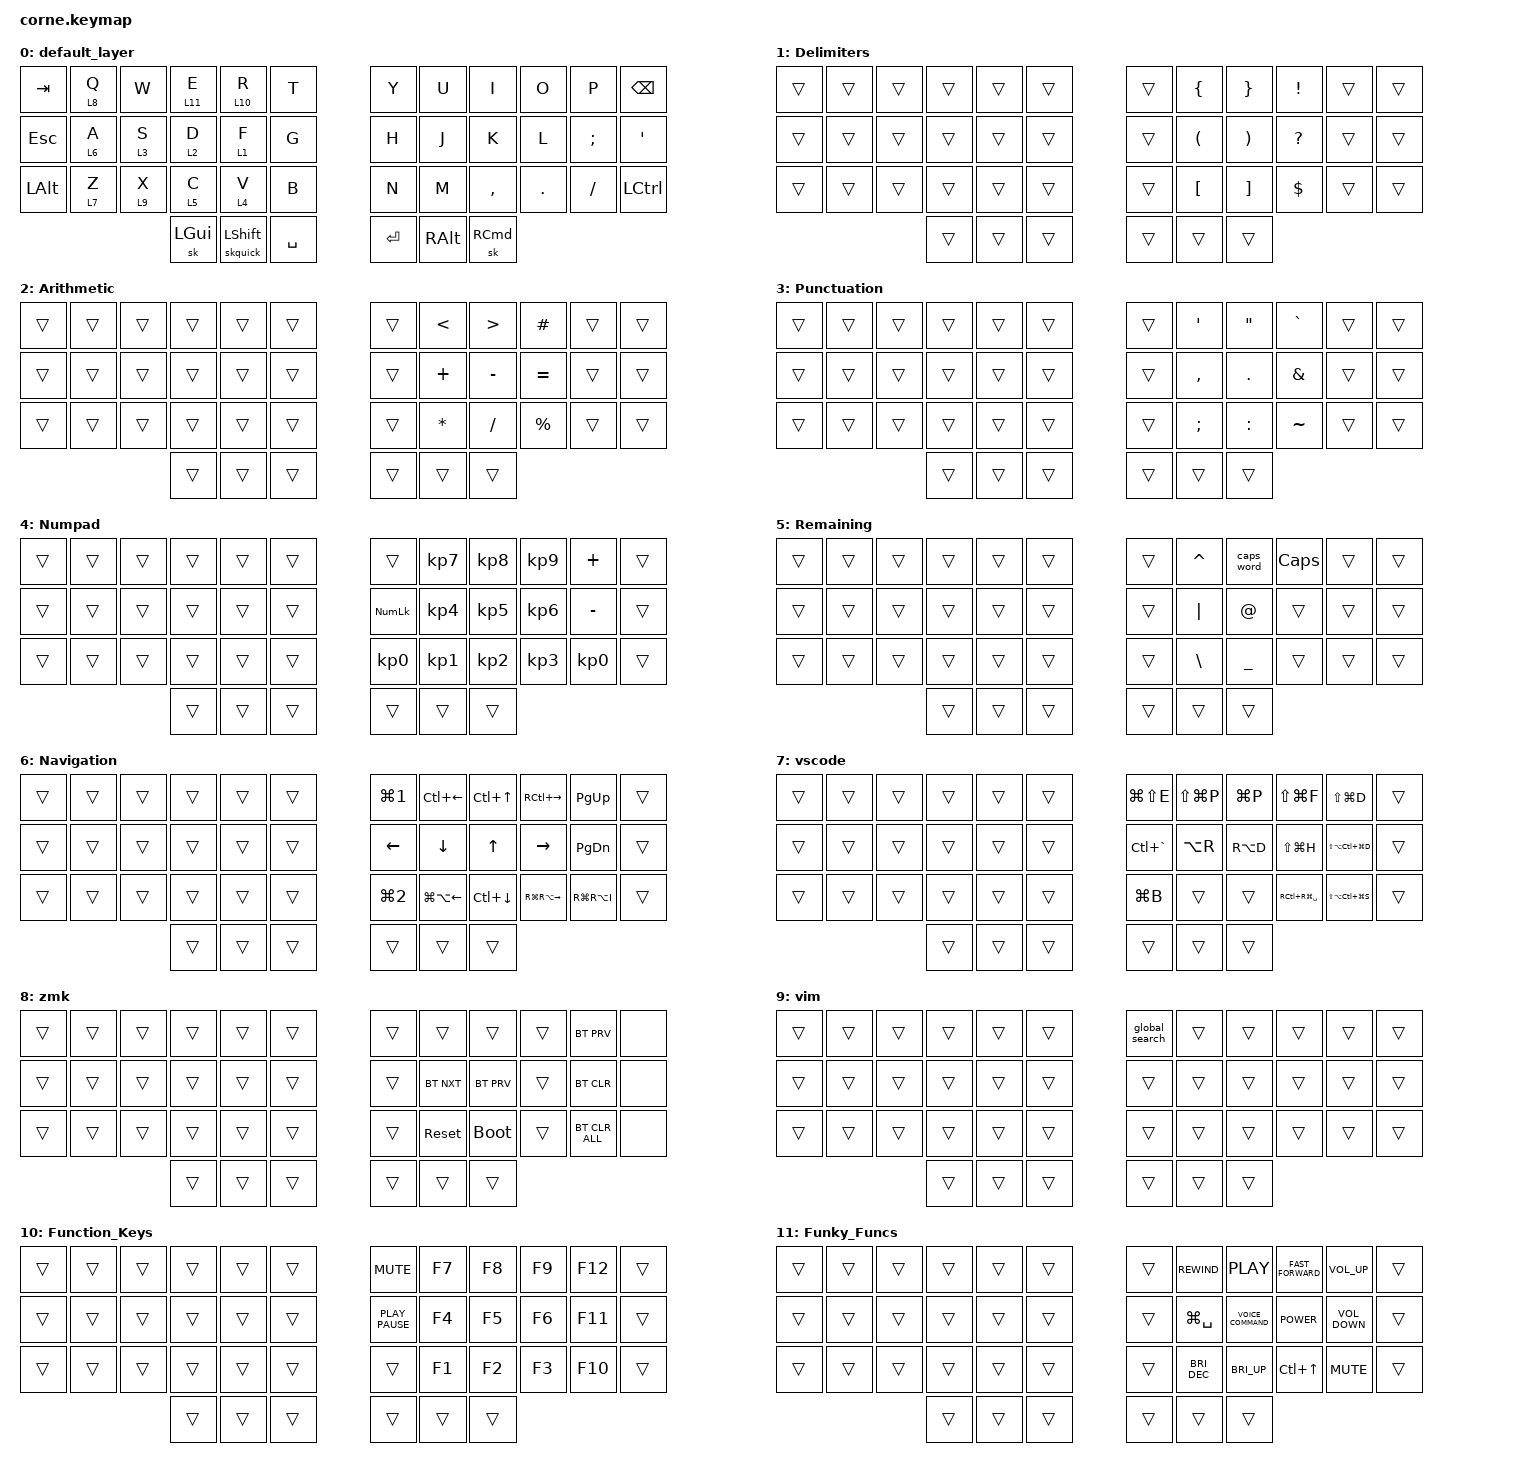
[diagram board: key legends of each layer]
/*
 * Copyright (c) 2020 The ZMK Contributors
 *
 * SPDX-License-Identifier: MIT
 */

#include <behaviors.dtsi>
#include <dt-bindings/zmk/bt.h>
#include <dt-bindings/zmk/keys.h>

/ {
    combos { compatible = "zmk,combos"; };

    behaviors {
        hml: hml {
            compatible = "zmk,behavior-hold-tap";
            label = "HML";
            bindings = <&mo>, <&sl>;

            #binding-cells = <2>;
            flavor = "balanced";
            tapping-term-ms = <50>;
            retro-tap;
        };

        skquick: skquick {
            compatible = "zmk,behavior-sticky-key";
            label = "SKQUICK";
            bindings = <&sk>;
            #binding-cells = <1>;
            release-after-ms = <2000>;
            quick-release;
            ignore-modifiers;
        };
    };

    macros {
        global_search: global_search {
            compatible = "zmk,behavior-macro";
            #binding-cells = <0>;
            bindings = <&none &kp COLON &kp PRCNT &kp S &kp FSLH>;
            label = "GLOBAL_SEARCH";
        };
    };

    keymap {
        compatible = "zmk,keymap";

        default_layer {
            // -----------------------------------------------------------------------------------------
            // |  TAB |  Q  |  W  |  E  |  R  |  T  |   |  Y  |  U   |  I  |  O  |  P  | BKSP |
            // | ESC |  A  |  S  |  D  |  F  |  G  |   |  H  |  J   |  K  |  L  |  ;  |  '   |
            // | SHFT |  Z  |  X  |  C  |  V  |  B  |   |  N  |  M   |  ,  |  .  |  /  | SHFT  |
            //                    | GUI | LWR | SPC |   | ENT | RSE  | ALT |

            bindings = <
&kp TAB       &lt 8 Q  &kp W    &lt 11 E      &lt 10 R             &kp T        &kp Y    &kp U     &kp I      &kp O       &kp P      &kp BACKSPACE
&kp ESC       &lt 6 A  &lt 3 S  &lt 2 D       &lt 1 F              &kp G        &kp H    &kp J     &kp K      &kp L       &kp SEMI   &kp APOS
&kp LEFT_ALT  &lt 7 Z  &lt 9 X  &lt 5 C       &lt 4 V              &kp B        &kp N    &kp M     &kp COMMA  &kp PERIOD  &kp SLASH  &kp LEFT_CONTROL
                                &sk LEFT_GUI  &skquick LEFT_SHIFT  &kp SPACE    &kp RET  &kp RALT  &sk RCMD
            >;
        };

        Delimiters {
            bindings = <
&trans  &trans  &trans  &trans  &trans  &trans    &trans  &kp LEFT_BRACE        &kp RIGHT_BRACE        &kp EXCLAMATION  &trans  &trans
&trans  &trans  &trans  &trans  &trans  &trans    &trans  &kp LEFT_PARENTHESIS  &kp RIGHT_PARENTHESIS  &kp QUESTION     &trans  &trans
&trans  &trans  &trans  &trans  &trans  &trans    &trans  &kp LEFT_BRACKET      &kp RIGHT_BRACKET      &kp DOLLAR       &trans  &trans
                        &trans  &trans  &trans    &trans  &trans                &trans
            >;
        };

        Arithmetic {
            bindings = <
&trans  &trans  &trans  &trans  &trans  &trans    &trans  &kp LESS_THAN  &kp GREATER_THAN  &kp POUND    &trans  &trans
&trans  &trans  &trans  &trans  &trans  &trans    &trans  &kp PLUS       &kp MINUS         &kp EQUAL    &trans  &trans
&trans  &trans  &trans  &trans  &trans  &trans    &trans  &kp ASTERISK   &kp FSLH          &kp PERCENT  &trans  &trans
                        &trans  &trans  &trans    &trans  &trans         &trans
            >;
        };

        Punctuation {
            bindings = <
&trans  &trans  &trans  &trans  &trans  &trans    &trans  &kp SQT    &kp DOUBLE_QUOTES  &kp GRAVE      &trans  &trans
&trans  &trans  &trans  &trans  &trans  &trans    &trans  &kp COMMA  &kp DOT            &kp AMPERSAND  &trans  &trans
&trans  &trans  &trans  &trans  &trans  &trans    &trans  &kp SEMI   &kp COLON          &kp TILDE      &trans  &trans
                        &trans  &trans  &trans    &trans  &trans     &trans
            >;
        };

        Numpad {
            bindings = <
&trans  &trans  &trans  &trans  &trans  &trans    &trans           &kp KP_NUMBER_7  &kp KP_NUMBER_8  &kp KP_NUMBER_9  &kp PLUS         &trans
&trans  &trans  &trans  &trans  &trans  &trans    &kp KP_NUMLOCK   &kp KP_NUMBER_4  &kp KP_NUMBER_5  &kp KP_NUMBER_6  &kp MINUS        &trans
&trans  &trans  &trans  &trans  &trans  &trans    &kp KP_NUMBER_0  &kp KP_NUMBER_1  &kp KP_NUMBER_2  &kp KP_NUMBER_3  &kp KP_NUMBER_0  &trans
                        &trans  &trans  &trans    &trans           &trans           &trans
            >;
        };

        Remaining {
            bindings = <
&trans  &trans  &trans  &trans  &trans  &trans    &trans  &kp CARET      &caps_word      &kp CAPS  &trans  &trans
&trans  &trans  &trans  &trans  &trans  &trans    &trans  &kp PIPE       &kp AT_SIGN     &trans    &trans  &trans
&trans  &trans  &trans  &trans  &trans  &trans    &trans  &kp BACKSLASH  &kp UNDERSCORE  &trans    &trans  &trans
                        &trans  &trans  &trans    &trans  &trans         &trans
            >;
        };

        Navigation {
            bindings = <
&trans  &trans  &trans  &trans  &trans  &trans    &kp LG(NUMBER_1)  &kp LC(LEFT_ARROW)      &kp LC(UP_ARROW)  &kp RC(RIGHT)      &kp PAGE_UP    &trans
&trans  &trans  &trans  &trans  &trans  &trans    &kp LEFT          &kp DOWN                &kp UP            &kp RIGHT          &kp PAGE_DOWN  &trans
&trans  &trans  &trans  &trans  &trans  &trans    &kp LG(NUMBER_2)  &kp LG(LA(LEFT_ARROW))  &kp LC(DOWN)      &kp RG(RA(RIGHT))  &kp RG(RA(I))  &trans
                        &trans  &trans  &trans    &trans            &trans                  &trans
            >;
        };

        vscode {
            bindings = <
&trans  &trans  &trans  &trans  &trans  &trans    &kp LG(LS(E))  &kp LS(LG(P))  &kp LG(P)  &kp LS(LG(F))      &kp LS(LG(D))          &trans
&trans  &trans  &trans  &trans  &trans  &trans    &kp LC(GRAVE)  &kp LA(R)      &kp RA(D)  &kp LS(LG(H))      &kp LS(LA(LC(LG(D))))  &trans
&trans  &trans  &trans  &trans  &trans  &trans    &kp LG(B)      &trans         &trans     &kp RC(RG(SPACE))  &kp LS(LA(LC(LG(S))))  &trans
                        &trans  &trans  &trans    &trans         &trans         &trans
            >;
        };

        zmk {
            bindings = <
&trans  &trans  &trans  &trans  &trans  &trans    &trans  &trans      &trans       &trans  &bt BT_PRV      &none
&trans  &trans  &trans  &trans  &trans  &trans    &trans  &bt BT_NXT  &bt BT_PRV   &trans  &bt BT_CLR      &none
&trans  &trans  &trans  &trans  &trans  &trans    &trans  &sys_reset  &bootloader  &trans  &bt BT_CLR_ALL  &none
                        &trans  &trans  &trans    &trans  &trans      &trans
            >;
        };

        vim {
            bindings = <
&trans  &trans  &trans  &trans  &trans  &trans    &global_search  &trans  &trans  &trans  &trans  &trans
&trans  &trans  &trans  &trans  &trans  &trans    &trans          &trans  &trans  &trans  &trans  &trans
&trans  &trans  &trans  &trans  &trans  &trans    &trans          &trans  &trans  &trans  &trans  &trans
                        &trans  &trans  &trans    &trans          &trans  &trans
            >;
        };

        Function_Keys {
            bindings = <
&trans  &trans  &trans  &trans  &trans  &trans    &kp K_MUTE        &kp F7  &kp F8  &kp F9  &kp F12  &trans
&trans  &trans  &trans  &trans  &trans  &trans    &kp K_PLAY_PAUSE  &kp F4  &kp F5  &kp F6  &kp F11  &trans
&trans  &trans  &trans  &trans  &trans  &trans    &trans            &kp F1  &kp F2  &kp F3  &kp F10  &trans
                        &trans  &trans  &trans    &trans            &trans  &trans
            >;
        };

        Funky_Funcs {
            bindings = <
&trans  &trans  &trans  &trans  &trans  &trans    &trans  &kp C_REWIND   &kp C_PLAY           &kp C_FAST_FORWARD  &kp C_VOLUME_UP    &trans
&trans  &trans  &trans  &trans  &trans  &trans    &trans  &kp LG(SPACE)  &kp C_VOICE_COMMAND  &kp C_POWER         &kp K_VOLUME_DOWN  &trans
&trans  &trans  &trans  &trans  &trans  &trans    &trans  &kp C_BRI_DEC  &kp C_BRI_UP         &kp LC(UP_ARROW)    &kp K_MUTE         &trans
                        &trans  &trans  &trans    &trans  &trans         &trans
            >;
        };
    };
};
